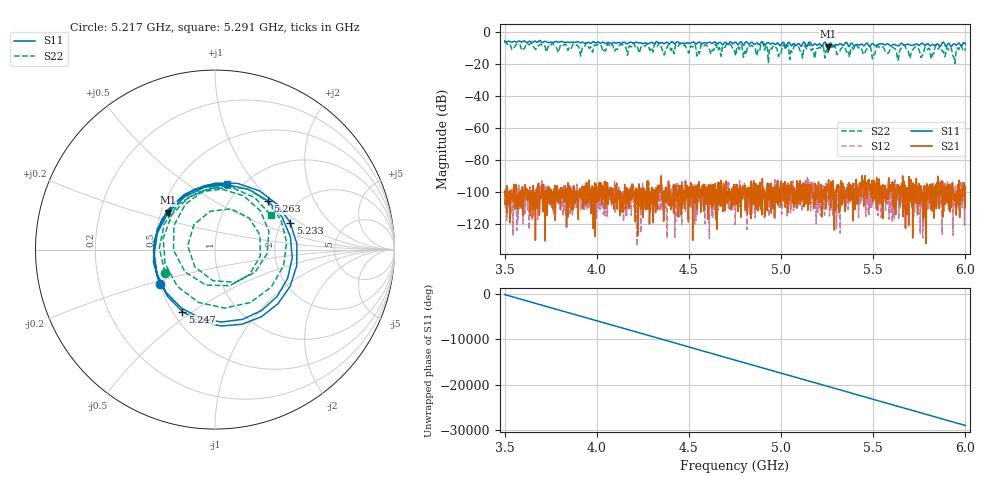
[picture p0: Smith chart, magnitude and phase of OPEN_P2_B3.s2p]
# Hz S RI R 50
! RAW DATA - UNCALIBRATED
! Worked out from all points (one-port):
!   1601 points, 3.5 GHz to 6 GHz, reference 50 ohm
!   lowest |S11| = -9.5 dB at 5.255 GHz (marker M1), VSWR 2.00, Z = 27.2 + j12.5 ohm
!   |S11| at or under -10 dB: nowhere
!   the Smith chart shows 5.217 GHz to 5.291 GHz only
!   S11 on the Smith chart (normalised r, x): 5.217 GHz: 0.50, -0.22; 5.233 GHz: 2.23, +0.84; 5.247 GHz: 0.56, -0.46; 5.263 GHz: 1.47, +0.95; 5.291 GHz: 0.86, +0.73
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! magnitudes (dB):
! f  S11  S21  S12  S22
! 3.5 GHz  -5.9  -101.1  -107.3  -7.1
! 3.917 GHz  -6.8  -104.6  -102.8  -13.0
! 4.334 GHz  -7.2  -101.2  -107.7  -7.8
! 4.364 GHz  -7.5  -116.8  -103.7  -14.4
! 4.458 GHz  -7.6  -114.6  -107.1  -7.6
! 4.55 GHz  -6.8  -99.4  -101.7  -12.5
! 4.578 GHz  -7.2  -96.0  -106.2  -8.9
! 4.75 GHz  -6.6  -96.6  -99.3  -13.6
! 5.167 GHz  -8.5  -99.9  -94.2  -11.4
! 5.217 GHz  -8.8  -100.4  -100.7  -10.3
! 5.233 GHz  -7.0  -98.7  -96.6  -11.8
! 5.247 GHz  -8.2  -99.5  -103.1  -11.6
! 5.255 GHz  -9.5  -95.8  -106.5  -13.6
! 5.263 GHz  -7.9  -96.2  -115.3  -8.8
! 5.291 GHz  -8.6  -100.7  -109.4  -8.8
! 5.584 GHz  -8.0  -91.4  -108.2  -13.1
! 5.666 GHz  -8.5  -110.0  -111.2  -8.5
! 5.82 GHz  -8.1  -100.1  -96.4  -14.5
! 5.85 GHz  -7.8  -90.4  -97.9  -10.6
! 5.939 GHz  -7.7  -103.4  -100.3  -16.8
! 5.966 GHz  -7.2  -107.5  -101.7  -10.8
! 6 GHz  -7.9  -97.1  -100.0  -11.9
